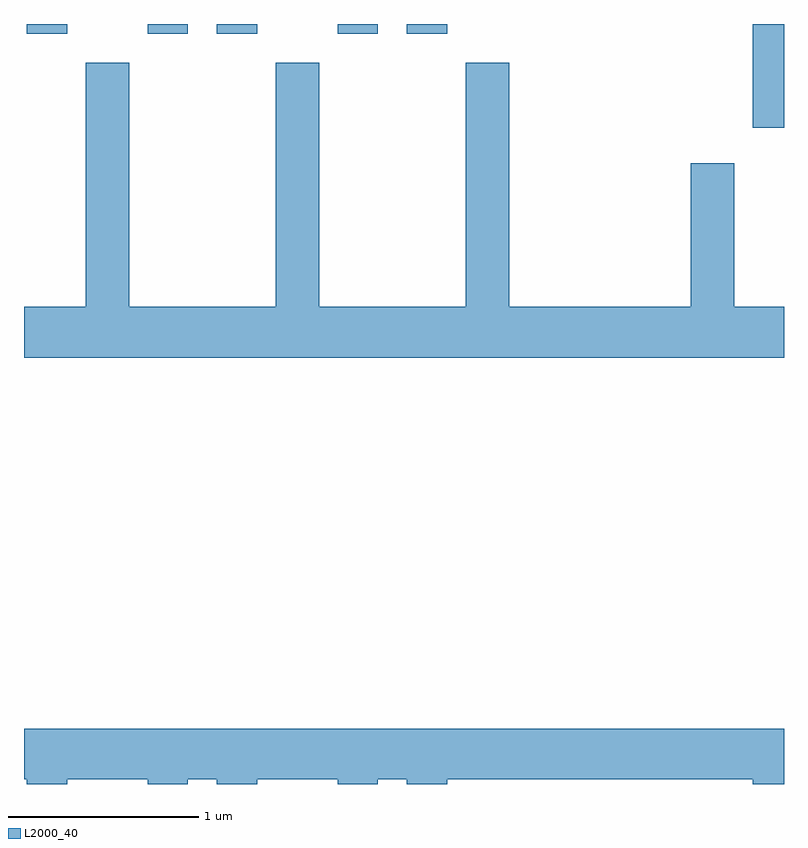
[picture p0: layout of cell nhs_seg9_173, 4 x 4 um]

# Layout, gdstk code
import gdstk
lib = gdstk.Library(unit=1e-6, precision=1e-09)
def R(c, l, rs):  # rectangles x0, y0, x1, y1
    for r in rs: c.add(gdstk.rectangle(r[:2], r[2:], *l))
def P(c, l, *ps):  # polygons
    for p in ps: c.add(gdstk.Polygon(p, *l))
L2000_40 = (2000, 40)

nhs_seg9_173 = lib.new_cell('nhs_seg9_173')
R(nhs_seg9_173, L2000_40, [(193.446,2021.886,193.611,2022.432), (189.626,2022.381,189.839,2022.432), (190.261,2022.381,190.474,2022.432), (190.626,2022.381,190.839,2022.432), (191.261,2022.381,191.474,2022.432), (191.626,2022.381,191.839,2022.432)])
P(nhs_seg9_173, L2000_40, [(193.611,2020.944),(193.349,2020.944),(193.349,2021.699),(193.121,2021.699),(193.121,2020.944),(192.164,2020.944),(192.164,2022.229),(191.936,2022.229),(191.936,2020.944),(191.164,2020.944),(191.164,2022.229),(190.936,2022.229),(190.936,2020.944),(190.164,2020.944),(190.164,2022.229),(189.936,2022.229),(189.936,2020.944),(189.611,2020.944),(189.611,2020.676),(193.611,2020.676)],
  [(189.839,2018.456),(190.261,2018.456),(190.261,2018.432),(190.474,2018.432),(190.474,2018.456),(190.626,2018.456),(190.626,2018.432),(190.839,2018.432),(190.839,2018.456),(191.261,2018.456),(191.261,2018.432),(191.474,2018.432),(191.474,2018.456),(191.626,2018.456),(191.626,2018.432),(191.839,2018.432),(191.839,2018.456),(193.446,2018.456),(193.446,2018.432),(193.611,2018.432),(193.611,2018.724),(189.611,2018.724),(189.611,2018.456),(189.626,2018.456),(189.626,2018.432),(189.839,2018.432)])

lib.write_gds('nhs_seg9_173.gds')
